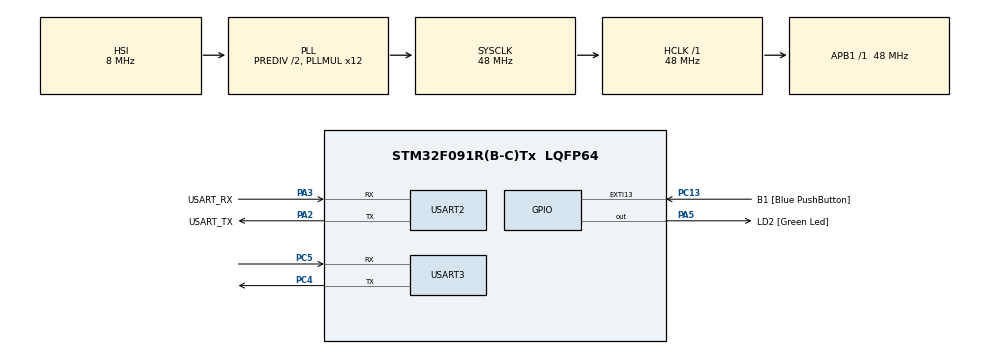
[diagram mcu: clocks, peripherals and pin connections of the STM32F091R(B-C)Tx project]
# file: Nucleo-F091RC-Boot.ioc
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Mcu.Family=STM32F0
Mcu.Name=STM32F091R(B-C)Tx
Mcu.Package=LQFP64
PA13.GPIO_Label=TMS
PA13.Mode=Serial_Wire
PA13.Signal=SYS_SWDIO
PA14.GPIO_Label=TCK
PA14.Mode=Serial_Wire
PA14.Signal=SYS_SWCLK
PA2.GPIO_Label=USART_TX
PA2.GPIO_Mode=GPIO_MODE_AF_PP
PA2.GPIO_PuPd=GPIO_NOPULL
PA2.GPIO_Speed=GPIO_SPEED_FREQ_LOW
PA2.Mode=Asynchronous
PA2.Signal=USART2_TX
PA3.GPIO_Label=USART_RX
PA3.GPIO_Mode=GPIO_MODE_AF_PP
PA3.GPIO_PuPd=GPIO_NOPULL
PA3.GPIO_Speed=GPIO_SPEED_FREQ_LOW
PA3.Mode=Asynchronous
PA3.Signal=USART2_RX
PA5.GPIO_Label=LD2 [Green Led]
PA5.GPIO_Mode=GPIO_MODE_OUTPUT_PP
PA5.GPIO_PuPd=GPIO_NOPULL
PA5.GPIO_Speed=GPIO_SPEED_FREQ_LOW
PA5.Signal=GPIO_Output
PC13.GPIO_Label=B1 [Blue PushButton]
PC13.GPIO_ModeDefaultEXTI=GPIO_MODE_IT_FALLING
PC13.Signal=GPXTI13
PC14OSC32_IN.Mode=LSE-External-Oscillator
PC14OSC32_IN.Signal=RCC_OSC32_IN
PC15OSC32_OUT.Mode=LSE-External-Oscillator
PC15OSC32_OUT.Signal=RCC_OSC32_OUT
PC4.Mode=Asynchronous
PC4.Signal=USART3_TX
PC5.Mode=Asynchronous
PC5.Signal=USART3_RX
PF0-OSC_IN.Mode=HSE-External-Clock-Source
PF0-OSC_IN.Signal=RCC_OSC_IN
PF1-OSC_OUT.Signal=RCC_OSC_OUT
ProjectManager.HeapSize=0x200
ProjectManager.StackSize=0x400
ProjectManager.TargetToolchain=STM32CubeIDE
RCC.AHBFreq_Value=48000000
RCC.APB1Freq_Value=48000000
RCC.APB1TimFreq_Value=48000000
RCC.FLatency-AdvancedSettings=FLASH_LATENCY_1
RCC.HCLKFreq_Value=48000000
RCC.PLLDivider=RCC_PREDIV_DIV2
RCC.PLLMUL=RCC_PLL_MUL12
RCC.PREFETCH_ENABLE-AdvancedSettings=1
RCC.SYSCLKFreq_VALUE=48000000
RCC.SYSCLKSource=RCC_SYSCLKSOURCE_PLLCLK
USART2.VirtualMode=VM_ASYNC
USART2.VirtualMode-Asynchronous=VM_ASYNC
USART3.VirtualMode-Asynchronous=VM_ASYNC
VP_CRC_VS_CRC.Mode=CRC_Activate
board=NUCLEO-F091RC

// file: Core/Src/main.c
/* USER CODE BEGIN Header */
/**
  ******************************************************************************
  * @file           : main.c
  * @brief          : Main program body
  ******************************************************************************
  * @attention
  *
  * <h2><center>&copy; Copyright (c) 2021 STMicroelectronics.
  * All rights reserved.</center></h2>
  *
  * This software component is licensed by ST under BSD 3-Clause license,
  * the "License"; You may not use this file except in compliance with the
  * License. You may obtain a copy of the License at:
  *                        opensource.org/licenses/BSD-3-Clause
  *
  ******************************************************************************
  */
/* USER CODE END Header */
#include "main.h"

/* USER CODE BEGIN PTD */
typedef void (*pFunction)(void);
/* USER CODE END PTD */

/* USER CODE BEGIN PD */

#define RSVD_SECTION ".rsvd.data,\"aw\",%nobits//"
#define _RSVD __attribute__((used, section(RSVD_SECTION)))
/* USER CODE END PD */

CRC_HandleTypeDef hcrc;

UART_HandleTypeDef huart2;
UART_HandleTypeDef huart3;

/* USER CODE BEGIN PV */
uint32_t JumAddress = 0x08008000;
pFunction Jump2App;
static volatile _RSVD uint32_t bootloader_vtor;

extern uint32_t *g_pfnVectors;
/* USER CODE END PV */

void SystemClock_Config(void);
static void MX_GPIO_Init(void);
static void MX_USART2_UART_Init(void);
static void MX_USART3_UART_Init(void);
static void MX_CRC_Init(void);

int main(void)
{
  /* USER CODE BEGIN 1 */
	uint8_t str_uart2[] = "UART2...\r\n";
	uint8_t str_uart3[] = "UART3...\r\n";
  /* USER CODE END 1 */

  /* MCU Configuration--------------------------------------------------------*/

  /* Reset of all peripherals, Initializes the Flash interface and the Systick. */
  HAL_Init();

  /* Configure the system clock */
  SystemClock_Config();

  /* Initialize all configured peripherals */
  MX_GPIO_Init();
  MX_USART2_UART_Init();
  MX_USART3_UART_Init();
  MX_CRC_Init();

  /* Infinite loop */
  /* USER CODE BEGIN WHILE */
//  while (1)
//  {
    /* USER CODE END WHILE */
    /* USER CODE BEGIN 3 */
	  if(!HAL_GPIO_ReadPin(B1_GPIO_Port, B1_Pin)){
		  printf("Blue button is  pressed. jump to Application\r\n");
		  __set_MSP(*(uint32_t*) 0x08008000);
		  Jump2App = *(uint32_t *)(0x08008000 + 4);
		  Jump2App();
	  }
	  else{
		  printf("Blue button is not pressed\r\n");
	  }
	  HAL_Delay(2000);
//  }
  /* USER CODE END 3 */
	  bootloader_vtor = 0;
}

int _write(int file, char *ptr, int len){
	int DataIdx;
	for(DataIdx=0; DataIdx<len; DataIdx++){
		HAL_UART_Transmit(&huart3, (uint8_t *)ptr++, 1, 100);
	}
	return len;
}
void SystemClock_Config(void)
{
  RCC_OscInitTypeDef RCC_OscInitStruct = {0};
  RCC_ClkInitTypeDef RCC_ClkInitStruct = {0};
  RCC_PeriphCLKInitTypeDef PeriphClkInit = {0};

  /** Initializes the RCC Oscillators according to the specified parameters
  * in the RCC_OscInitTypeDef structure.
  */
  RCC_OscInitStruct.OscillatorType = RCC_OSCILLATORTYPE_HSI;
  RCC_OscInitStruct.HSIState = RCC_HSI_ON;
  RCC_OscInitStruct.HSICalibrationValue = RCC_HSICALIBRATION_DEFAULT;
  RCC_OscInitStruct.PLL.PLLState = RCC_PLL_ON;
  RCC_OscInitStruct.PLL.PLLSource = RCC_PLLSOURCE_HSI;
  RCC_OscInitStruct.PLL.PLLMUL = RCC_PLL_MUL12;
  RCC_OscInitStruct.PLL.PREDIV = RCC_PREDIV_DIV2;
  if (HAL_RCC_OscConfig(&RCC_OscInitStruct) != HAL_OK)
  {
    Error_Handler();
  }
  /** Initializes the CPU, AHB and APB buses clocks
  */
  RCC_ClkInitStruct.ClockType = RCC_CLOCKTYPE_HCLK|RCC_CLOCKTYPE_SYSCLK
                              |RCC_CLOCKTYPE_PCLK1;
  RCC_ClkInitStruct.SYSCLKSource = RCC_SYSCLKSOURCE_PLLCLK;
  RCC_ClkInitStruct.AHBCLKDivider = RCC_SYSCLK_DIV1;
  RCC_ClkInitStruct.APB1CLKDivider = RCC_HCLK_DIV1;

  if (HAL_RCC_ClockConfig(&RCC_ClkInitStruct, FLASH_LATENCY_1) != HAL_OK)
  {
    Error_Handler();
  }
  PeriphClkInit.PeriphClockSelection = RCC_PERIPHCLK_USART3|RCC_PERIPHCLK_USART2;
  PeriphClkInit.Usart2ClockSelection = RCC_USART2CLKSOURCE_PCLK1;
  PeriphClkInit.Usart3ClockSelection = RCC_USART3CLKSOURCE_PCLK1;
  if (HAL_RCCEx_PeriphCLKConfig(&PeriphClkInit) != HAL_OK)
  {
    Error_Handler();
  }
}

static void MX_CRC_Init(void)
{

  hcrc.Instance = CRC;
  hcrc.Init.DefaultPolynomialUse = DEFAULT_POLYNOMIAL_ENABLE;
  hcrc.Init.DefaultInitValueUse = DEFAULT_INIT_VALUE_ENABLE;
  hcrc.Init.InputDataInversionMode = CRC_INPUTDATA_INVERSION_NONE;
  hcrc.Init.OutputDataInversionMode = CRC_OUTPUTDATA_INVERSION_DISABLE;
  hcrc.InputDataFormat = CRC_INPUTDATA_FORMAT_BYTES;
  if (HAL_CRC_Init(&hcrc) != HAL_OK)
  {
    Error_Handler();
  }

}

static void MX_USART2_UART_Init(void)
{

  huart2.Instance = USART2;
  huart2.Init.BaudRate = 115200;
  huart2.Init.WordLength = UART_WORDLENGTH_8B;
  huart2.Init.StopBits = UART_STOPBITS_1;
  huart2.Init.Parity = UART_PARITY_NONE;
  huart2.Init.Mode = UART_MODE_TX_RX;
  huart2.Init.HwFlowCtl = UART_HWCONTROL_NONE;
  huart2.Init.OverSampling = UART_OVERSAMPLING_16;
  huart2.Init.OneBitSampling = UART_ONE_BIT_SAMPLE_DISABLE;
  huart2.AdvancedInit.AdvFeatureInit = UART_ADVFEATURE_NO_INIT;
  if (HAL_UART_Init(&huart2) != HAL_OK)
  {
    Error_Handler();
  }

}

static void MX_USART3_UART_Init(void)
{

  huart3.Instance = USART3;
  huart3.Init.BaudRate = 115200;
  huart3.Init.WordLength = UART_WORDLENGTH_8B;
  huart3.Init.StopBits = UART_STOPBITS_1;
  huart3.Init.Parity = UART_PARITY_NONE;
  huart3.Init.Mode = UART_MODE_TX_RX;
  huart3.Init.HwFlowCtl = UART_HWCONTROL_NONE;
  huart3.Init.OverSampling = UART_OVERSAMPLING_16;
  huart3.Init.OneBitSampling = UART_ONE_BIT_SAMPLE_DISABLE;
  huart3.AdvancedInit.AdvFeatureInit = UART_ADVFEATURE_NO_INIT;
  if (HAL_UART_Init(&huart3) != HAL_OK)
  {
    Error_Handler();
  }

}

static void MX_GPIO_Init(void)
{
  GPIO_InitTypeDef GPIO_InitStruct = {0};

  /* GPIO Ports Clock Enable */
  __HAL_RCC_GPIOC_CLK_ENABLE();
  __HAL_RCC_GPIOF_CLK_ENABLE();
  __HAL_RCC_GPIOA_CLK_ENABLE();

  /*Configure GPIO pin Output Level */
  HAL_GPIO_WritePin(LD2_GPIO_Port, LD2_Pin, GPIO_PIN_RESET);

  /*Configure GPIO pin : B1_Pin */
  GPIO_InitStruct.Pin = B1_Pin;
  GPIO_InitStruct.Mode = GPIO_MODE_IT_FALLING;
  GPIO_InitStruct.Pull = GPIO_NOPULL;
  HAL_GPIO_Init(B1_GPIO_Port, &GPIO_InitStruct);

  /*Configure GPIO pin : LD2_Pin */
  GPIO_InitStruct.Pin = LD2_Pin;
  GPIO_InitStruct.Mode = GPIO_MODE_OUTPUT_PP;
  GPIO_InitStruct.Pull = GPIO_NOPULL;
  GPIO_InitStruct.Speed = GPIO_SPEED_FREQ_LOW;
  HAL_GPIO_Init(LD2_GPIO_Port, &GPIO_InitStruct);

}

void Error_Handler(void)
{
  __disable_irq();
  while (1)
  {
  }
}

void bootloader_init(void)
{
    bootloader_vtor = (uint32_t)(&g_pfnVectors);
}

/************************ (C) COPYRIGHT STMicroelectronics *****END OF FILE****/
